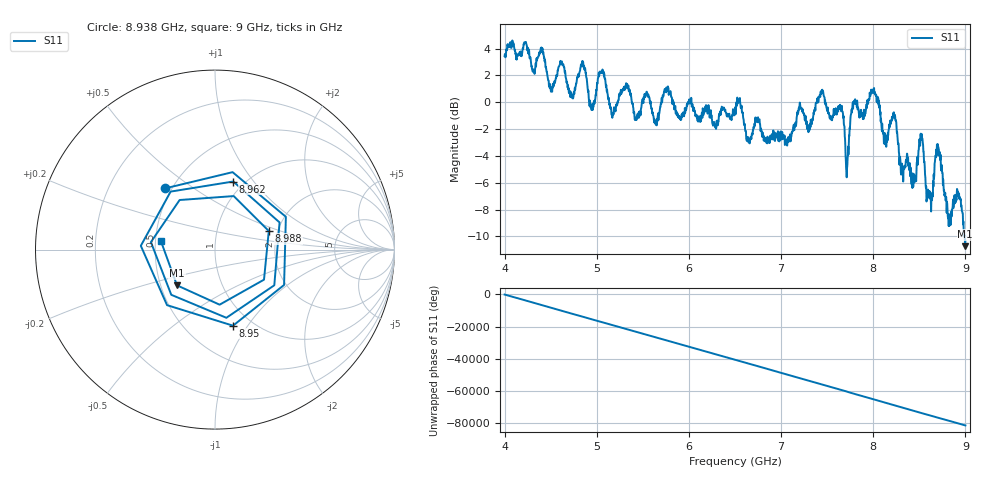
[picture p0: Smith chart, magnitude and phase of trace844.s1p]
! Created with skrf 1.8.0 (http://scikit-rf.org).
# Hz S RI R 50.0
!freq ReS11 ImS11
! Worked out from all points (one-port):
!   1601 points, 4 GHz to 9 GHz, reference 50 ohm
!   lowest |S11| = -10.7 dB at 8.997 GHz (marker M1), VSWR 1.82, Z = 30.3 - j13.2 ohm
!   |S11| at or under -10 dB: 8.983958 GHz to 8.985058 GHz (1.1 MHz wide, 0.0122 % of centre); 8.991985 GHz to end of sweep
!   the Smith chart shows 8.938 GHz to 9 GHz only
!   S11 on the Smith chart (normalised r, x): 8.938 GHz: 0.46, +0.39; 8.95 GHz: 0.82, -0.86; 8.962 GHz: 0.89, +0.80; 8.988 GHz: 1.79, +0.41; 9 GHz: 0.54, +0.05
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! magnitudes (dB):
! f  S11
! 4 GHz  3.4
! 4.625 GHz  2.9
! 4.722 GHz  0.4
! 4.847 GHz  2.8
! 4.941 GHz  -0.5
! 5.047 GHz  2.3
! 5.159 GHz  -0.9
! 5.25 GHz  0.5
! 5.875 GHz  -0.8
! 6.5 GHz  -0.6
! 7.125 GHz  -2.1
! 7.441 GHz  0.9
! 7.653 GHz  -0.7
! 7.716 GHz  -4.9
! 7.75 GHz  -1.6
! 8.003 GHz  1.0
! 8.375 GHz  -4.1
! 8.441 GHz  -5.5
! 8.522 GHz  -2.6
! 8.622 GHz  -6.8
! 8.706 GHz  -3.3
! 8.822 GHz  -8.3
! 8.938 GHz  -7.1
! 8.95 GHz  -7.2
! 8.962 GHz  -8.1
! 8.988 GHz  -10.0
! 8.997 GHz  -10.7
! 9 GHz  -10.3
